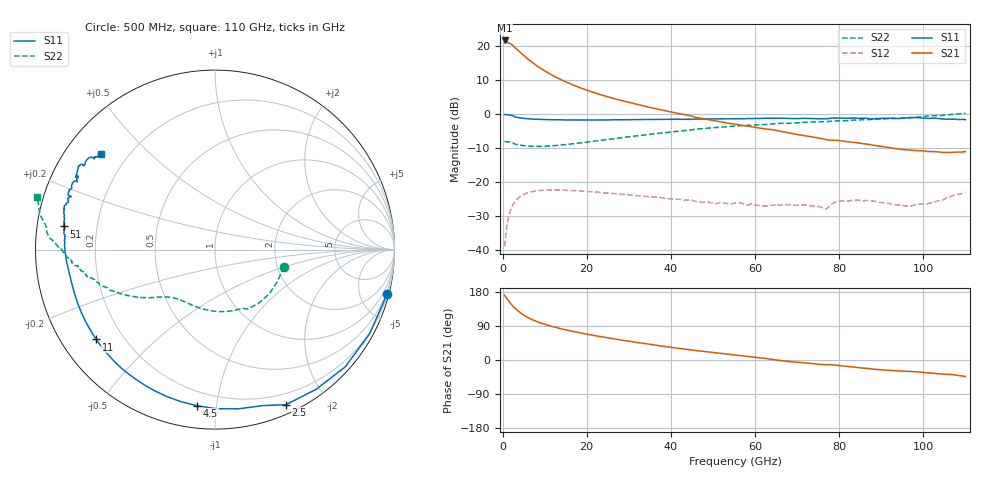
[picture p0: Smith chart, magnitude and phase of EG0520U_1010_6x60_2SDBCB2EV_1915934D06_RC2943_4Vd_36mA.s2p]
!File name = EG0520U_1010_6x60_2SDBCB2EV_1915934D06_RC2943_4Vd_36mA.s2p
!Base file name = EG0520U_1010_6x60_2SDBCB2EV_1915934D06_RC2943
!Date = 8/23/2019
!Time = 1:05 PM
!Test duration(min) = 0.15
!Test = S-Parameters
!MPTS version = 8.91.5
!State File = C:\Data\PNA\20190821205423\S-Parameters_2019-08-23.sta
!Cal File =
!ComputerName = CMPE-LAB-6
!Comments =
!Attenuation = 0
!Z0 = 50
!Input Power(dBm) = -13.00
!Device ID = EG0520U_1010_6x60_2SDBCB2EV
!Row = 29
!Column = 43
!Technology = QPHT09
!Lot/Wafer = 1915934D06
!Gate Size = 360
!Mask = EG0520
!Cal Standards = GaAs BCB
!Cal Kit = EG2306
!Job Number = 20190821205423
!Device Type = FET
!set_Vg(v) = -1.500
!set_Vd(v) = 4.000
!set_Vd(mA) = 36.000
!file_name = EG0520U_1010_6x60_2SDBCB2EV_1915934D06_RC2943_4Vd_36mA.s2p
!Vd(V) = 4.000
!Vd(mA) = 35.997
!Vg(V) = -0.540
!Vg(mA) = -0.005
# GHz  S  DB  R  50
!%	Freq(GHz)  s11(dB)  s11(deg)  s21(dB)  s21(deg)  s12(dB)  s12(deg)  s22(dB)  s22(deg)
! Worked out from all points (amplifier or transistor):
!   220 points, 500 MHz to 110 GHz, reference 50 ohm
!   highest |S21| = 21.8 dB at 500 MHz (marker M1)
!   |S21| within 3 dB of that: start of sweep to 3.757 GHz
!   unconditionally stable (mu >= 1): 31.82 GHz to 96.39 GHz
!   at 18.5 GHz: K = 0.57, MSG = 15.2 dB, |S12| = -22.7 dB
!   at 55.5 GHz: K = 1.58, MAG = 7.1 dB, |S12| = -26.2 dB
!   at 110 GHz: K = -1.44, MSG = 5.9 dB, |S12| = -22.9 dB
!   S11 on the Smith chart (normalised r, x): 500 MHz: 0.29, -7.85; 2.5 GHz: 0.09, -1.55; 4.5 GHz: 0.12, -0.89; 11 GHz: 0.10, -0.33; 51 GHz: 0.08, +0.08; 110 GHz: 0.10, +0.36
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0.5  -0.08 -14.5  21.76 171.1  -38.96 80.7  -8.08 -14.0
1  -0.17 -28.7  21.34 162.6  -33.19 73.4  -8.16 -26.8
1.5  -0.21 -42.0  20.99 155.3  -30.02 66.2  -8.19 -39.2
2  -0.35 -54.1  20.72 147.9  -28.00 59.5  -8.28 -51.3
2.5  -0.45 -65.5  20.28 141.5  -26.62 53.8  -8.46 -61.2
3  -0.83 -73.0  19.59 136.2  -25.81 49.4  -8.87 -65.3
3.5  -0.95 -81.8  19.04 131.1  -25.04 45.0  -8.99 -72.9
4.5  -1.15 -96.5  17.93 122.4  -24.03 37.5  -9.20 -86.0
5.5  -1.30 -108.1  16.85 115.3  -23.41 31.7  -9.38 -96.1
7  -1.45 -121.5  15.34 106.7  -22.88 25.1  -9.48 -107.1
9  -1.55 -133.8  13.58 98.1  -22.50 18.9  -9.50 -116.5
11  -1.62 -142.9  12.06 90.9  -22.38 14.1  -9.40 -123.2
14.5  -1.69 -153.8  9.84 80.9  -22.44 8.3  -9.03 -130.5
19  -1.72 -162.9  7.54 70.4  -22.70 3.5  -8.40 -136.0
26.5  -1.69 -172.2  4.60 55.8  -23.41 -0.6  -7.21 -142.2
37  -1.54 179.4  1.46 37.9  -24.51 -1.6  -5.67 -149.7
51  -1.40 171.3  -2.09 18.4  -26.40 2.1  -3.93 -160.4
55.5  -1.36 168.8  -3.00 12.9  -26.18 3.0  -3.48 -162.8
73.5  -1.29 160.3  -6.71 -9.5  -27.11 4.1  -2.28 -172.1
92  -1.21 151.7  -9.89 -27.4  -26.33 -9.6  -1.34 179.8
101  -1.24 147.5  -11.01 -33.7  -26.48 -4.0  -0.57 174.8
110  -1.62 140.1  -11.05 -43.4  -22.94 -13.9  0.32 163.5
